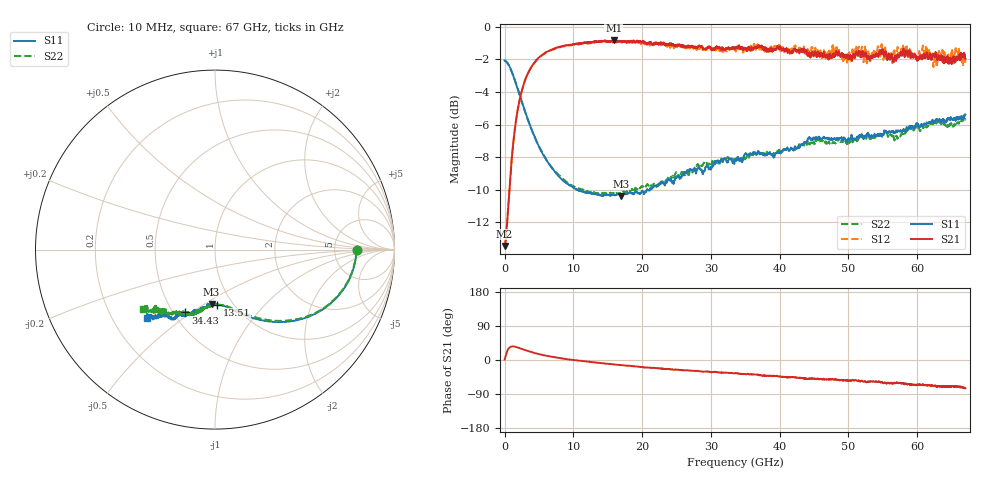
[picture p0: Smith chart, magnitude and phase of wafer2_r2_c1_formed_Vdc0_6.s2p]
!Keysight Technologies,N5227A,US51270248,A.10.65.08
!Date: Tuesday, June 11, 2024 07:17:54
!Correction: S11(Full 2 Port(1,4))
!S41(Full 2 Port(1,4))
!S14(Full 2 Port(1,4))
!S44(Full 2 Port(1,4))
!S2P File: Measurements: S11, S41, S14, S44:
# Hz S  dB  R 50
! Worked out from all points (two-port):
!   3201 points, 10 MHz to 67 GHz, reference 50 ohm
!   highest |S21| = -0.84 dB at 15.88 GHz (marker M1); lowest = -13.4 dB at 10 MHz (marker M2)
!   |S21| within 3 dB of the highest: 2.562 GHz to end of sweep
!   lowest |S11| = -10.4 dB at 16.97 GHz (marker M3), VSWR 1.87, Z = 40.2 - j26.8 ohm
!   |S11| at or under -10 dB: 10.59325 GHz to 10.61147 GHz (18.22 MHz wide, 0.172 % of centre); 10.66 GHz to 20.67 GHz (10.02 GHz wide, 63.9 % of centre); 20.77 GHz to 21.11 GHz (333.3 MHz wide, 1.59 % of centre)
!   |S22| runs from -10.3 to -2.1 dB; largest |S21 - S12| = 0.094
!   S11 on the Smith chart (normalised r, x): 10 MHz: 8.45, -0.18; 13.51 GHz: 0.85, -0.57; 34.43 GHz: 0.57, -0.47; 67 GHz: 0.35, -0.37
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1e7  -2.07 -0.3  -13.44 0.9  -13.45 1.0  -2.06 -0.3
1.475406e9  -3.24 -28.7  -6.35 35.3  -6.35 35.1  -3.25 -28.3
3.087353e9  -5.32 -48.2  -3.16 25.5  -3.16 25.4  -5.33 -47.2
6.101903e9  -8.19 -67.1  -1.54 11.1  -1.58 11.0  -8.16 -65.3
1.118896e10  -10.09 -82.4  -1.00 -2.4  -1.05 -2.6  -9.96 -80.9
1.351267e10  -10.28 -87.7  -0.92 -7.4  -0.89 -7.0  -10.20 -87.1
1.587826e10  -10.33 -92.1  -0.84 -11.6  -0.91 -11.2  -10.24 -91.1
1.696684e10  -10.37 -93.6  -0.85 -13.6  -0.96 -13.5  -10.23 -92.4
2.234698e10  -9.67 -99.4  -1.06 -21.6  -1.05 -21.3  -9.73 -100.1
3.3505e10  -8.20 -112.7  -1.33 -34.7  -1.43 -34.7  -8.00 -116.6
3.442611e10  -8.24 -115.3  -1.31 -36.0  -1.26 -35.8  -8.14 -116.7
4.468396e10  -6.87 -122.8  -1.61 -49.0  -1.31 -48.1  -7.05 -126.0
5.012689e10  -6.94 -126.8  -1.90 -53.8  -1.56 -53.0  -7.07 -130.2
5.173884e10  -6.66 -127.4  -1.77 -56.9  -1.84 -54.6  -6.78 -131.2
5.297397e10  -6.63 -129.4  -1.90 -57.7  -1.51 -57.0  -6.70 -134.1
5.460685e10  -6.65 -129.7  -1.44 -58.2  -1.81 -56.6  -6.58 -133.3
5.584198e10  -6.43 -129.3  -1.69 -60.3  -1.81 -60.3  -6.73 -135.4
5.730738e10  -6.38 -130.0  -1.89 -60.7  -1.67 -60.9  -6.74 -133.8
6.153613e10  -5.90 -131.6  -1.96 -67.6  -1.69 -68.1  -6.10 -136.5
6.264565e10  -5.72 -131.4  -1.62 -67.4  -1.91 -68.2  -5.85 -138.0
6.375517e10  -5.73 -133.9  -1.85 -70.8  -1.64 -70.3  -5.90 -140.3
6.7e10  -5.38 -134.7  -1.95 -74.4  -2.21 -75.0  -5.69 -140.4
